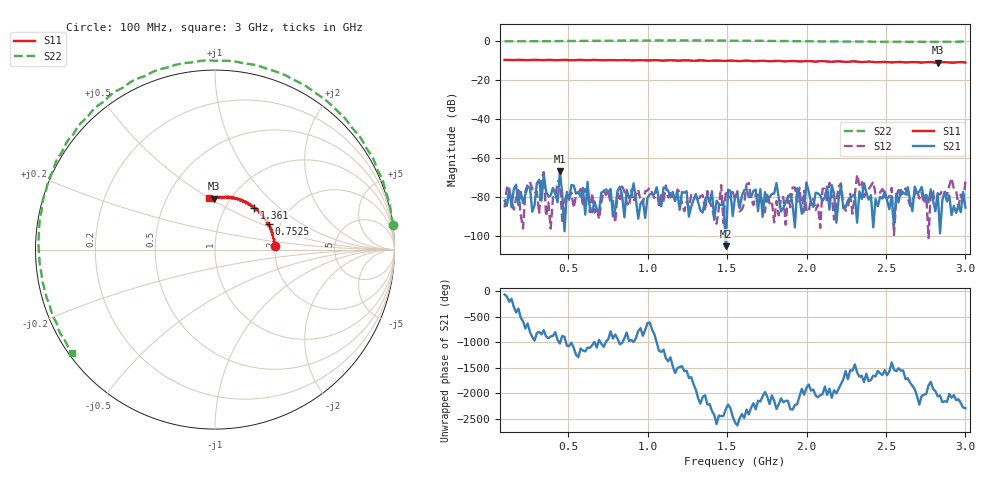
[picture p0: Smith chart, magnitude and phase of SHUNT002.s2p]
!Agilent N9914A: A.06.08
!Date: Friday, 03 December 2010 10:15:38
!Model: N9914A
!Serial: MY52401117
!GPS Latitude:
!GPS Longitude:
!GPS TimeStamp: 0001-01-01 00:00:00Z
!GPS Seconds Since Last Read: 0
!CHECKSUM:2106328163
!Correction: S11(ON U)S21(ON U)S12(ON U)S22(ON U)
!S2P File: Measurements:S11,S21,S12,S22:
# Hz S DB R 50
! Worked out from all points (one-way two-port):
!   201 points, 100 MHz to 3 GHz, reference 50 ohm
!   highest |S21| = -66.68 dB at 448 MHz (marker M1); lowest = -105.4 dB at 1.492 GHz (marker M2)
!   lowest |S11| = -11.0 dB at 2.826 GHz (marker M3), VSWR 1.79, Z = 42.1 + j25.9 ohm
!   |S11| at or under -10 dB: 1.46 GHz to 1.501 GHz (41.43 MHz wide, 2.8 % of centre); 1.642 GHz to 1.707 GHz (64.65 MHz wide, 3.86 % of centre); 1.73 GHz to end of sweep (the widest 3 of 5)
!   |S22| runs from -0.2 to 0.5 dB; largest |S21 - S12| = 0.00064
!   S11 on the Smith chart (normalised r, x): 100 MHz: 2.00, +0.08; 752.5 MHz: 1.74, +0.55; 1.361 GHz: 1.36, +0.70; 3 GHz: 0.80, +0.50
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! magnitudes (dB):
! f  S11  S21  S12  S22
! 100 MHz  -9.5  -82.2  -85.4  0.0
! 259.5 MHz  -9.6  -75.1  -72.2  0.1
! 317.5 MHz  -9.6  -71.2  -88.7  0.1
! 332 MHz  -9.7  -81.9  -70.7  0.1
! 346.5 MHz  -9.7  -68.5  -67.3  0.1
! 361 MHz  -9.6  -77.3  -90.0  0.1
! 433.5 MHz  -9.7  -82.8  -72.3  0.1
! 448 MHz  -9.6  -66.7  -71.0  0.1
! 477 MHz  -9.5  -97.7  -82.5  0.2
! 593 MHz  -9.6  -75.3  -85.0  0.3
! 752.5 MHz  -9.6  -77.6  -76.9  0.3
! 1.071 GHz  -9.8  -81.2  -84.3  0.5
! 1.361 GHz  -9.9  -81.5  -87.3  0.4
! 1.492 GHz  -10.1  -105.4  -76.8  0.4
! 1.55 GHz  -10.0  -80.3  -81.3  0.3
! 2.043 GHz  -10.4  -85.2  -81.3  0.0
! 2.289 GHz  -10.3  -79.4  -88.6  -0.1
! 2.318 GHz  -10.4  -93.3  -68.6  -0.1
! 2.362 GHz  -10.6  -73.0  -80.1  -0.1
! 2.522 GHz  -10.7  -86.4  -79.7  -0.2
! 2.826 GHz  -11.0  -78.1  -78.5  -0.2
! 3 GHz  -10.8  -85.5  -72.0  -0.1
